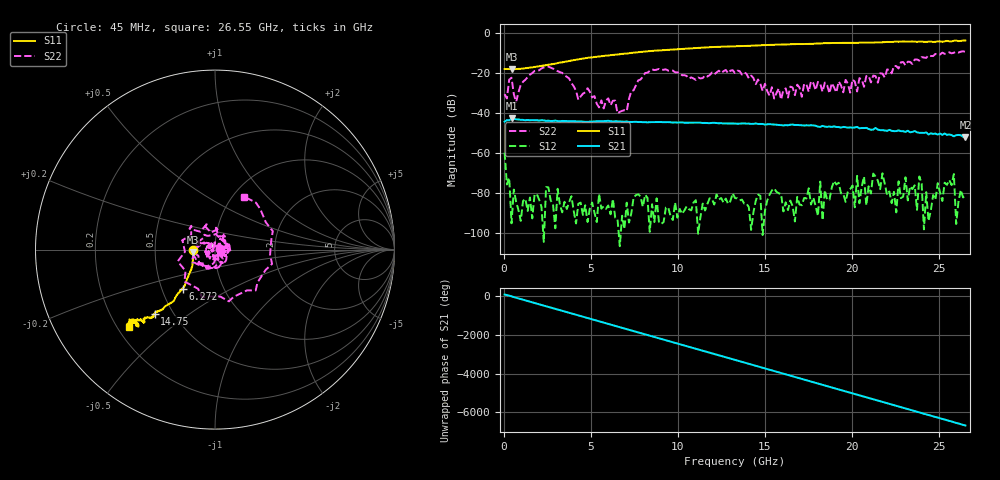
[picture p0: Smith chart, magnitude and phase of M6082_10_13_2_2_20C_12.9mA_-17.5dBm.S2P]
!  2-Port S-parameters saved by WinCal
! VAR MeasName=S-Parameters (CALIBRATED_DATA) read from VNA (C)
! VAR MeasDate=10/16/2015 2:43:18 PM
! VAR NAME=M6082_10_13_2_2_20C_12.9mA_-17.5dBm
! VAR FILENAME=M6082_10_13_2_2_20C_12.9mA_-17.5dBm.S2P
! VAR DATE=10/16/2015 2:43:18 PM
! VAR PHYS_PORTS=2,1
! VAR ObjTypeName=DATASET
! VAR IndexType=Frequency
# Hz S RI R 50
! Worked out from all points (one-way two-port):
!   201 points, 45 MHz to 26.55 GHz, reference 50 ohm
!   highest |S21| = -42.70 dB at 442.5 MHz (marker M1); lowest = -52.0 dB at 26.55 GHz (marker M2)
!   lowest |S11| = -18.1 dB at 442.5 MHz (marker M3), VSWR 1.28, Z = 39 - j1.06 ohm
!   |S11| at or under -10 dB: start of sweep to 7.332 GHz
!   |S22| runs from -40.1 to -9.2 dB; largest |S21 - S12| = 0.0073
!   S11 on the Smith chart (normalised r, x): 45 MHz: 0.78, +0.00; 6.272 GHz: 0.64, -0.30; 14.75 GHz: 0.40, -0.37; 26.55 GHz: 0.25, -0.36
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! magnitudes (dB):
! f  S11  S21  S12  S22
! 45 MHz  -18.0  -44.3  -59.7  -30.6
! 177.5 MHz  -18.1  -43.5  -75.6  -32.7
! 442.5 MHz  -18.1  -42.7  -95.0  -22.4
! 707.5 MHz  -18.0  -43.1  -84.3  -34.5
! 2.43 GHz  -16.1  -43.9  -76.9  -17.0
! 4.55 GHz  -12.9  -44.3  -90.9  -30.3
! 6.272 GHz  -11.0  -44.2  -82.9  -33.9
! 7.067 GHz  -10.3  -44.2  -84.7  -39.1
! 8.922 GHz  -8.8  -44.5  -94.7  -18.0
! 13.29 GHz  -6.7  -45.3  -82.4  -20.0
! 14.75 GHz  -6.2  -45.4  -81.3  -25.4
! 15.95 GHz  -5.8  -46.0  -80.4  -33.3
! 17.8 GHz  -5.5  -46.2  -82.1  -25.1
! 20.18 GHz  -5.0  -47.2  -87.0  -24.3
! 20.32 GHz  -5.0  -46.9  -71.3  -29.2
! 21.11 GHz  -4.9  -48.4  -80.2  -24.7
! 21.77 GHz  -4.7  -48.5  -70.0  -20.3
! 22.17 GHz  -4.5  -48.4  -79.1  -18.4
! 23.89 GHz  -4.4  -49.9  -71.7  -13.9
! 25.22 GHz  -4.5  -50.9  -83.9  -9.9
! 25.88 GHz  -3.9  -51.6  -70.4  -9.9
! 26.55 GHz  -3.8  -52.0  -81.1  -9.5
